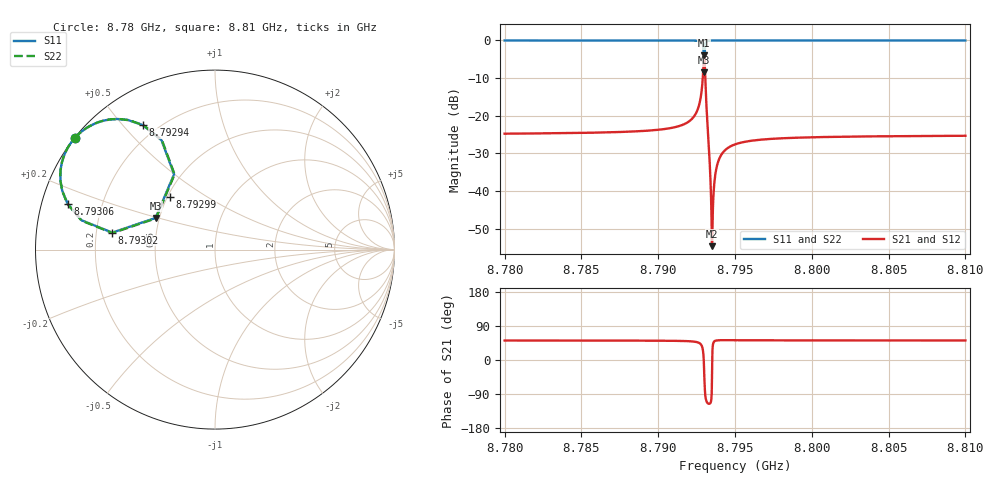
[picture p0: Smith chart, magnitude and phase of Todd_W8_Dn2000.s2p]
! Sonnet Data File
! From: emgraph Version : 16.52
! From Project: transmon_brgOdd
! Data is De-embedded
! Data File Written: 11/12/2017 17:05:33
!< HDATE 11/11/2017 22:57:51
!< MDATE 11/11/2017 22:57:51
!< PARAMS
!< Lj = 15.24
!< Gap = 6.0
!< Width = 10.0
!< Airgap = 6.0
!< Pwidth = 2000.0
!< Dist = 2000.0
!< END PARAMS
# GHZ S MA R 34.67000
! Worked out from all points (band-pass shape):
!   3001 points, 8.78 GHz to 8.81 GHz, reference 34.67 ohm
!   highest |S21| = -3.94 dB at 8.79299 GHz (marker M1); lowest = -54.6 dB at 8.7935 GHz (marker M2)
!   |S21| within 3 dB of the highest: 8.792944 GHz to 8.793035 GHz (90.76 kHz wide, 0.00103 % of centre)
!   lowest |S11| = -8.5 dB at 8.793 GHz (marker M3), VSWR 2.20, Z = 16.5 + j6.78 ohm
!   |S11| at or under -10 dB: nowhere
!   |S22| runs from -8.6 to 0.0 dB; largest |S21 - S12| = 0
!   S11 on the Smith chart (normalised r, x): 8.78 GHz: 0.00, +0.35; 8.79294 GHz: 0.15, +0.57; 8.79299 GHz: 0.52, +0.35; 8.79302 GHz: 0.27, +0.08; 8.79306 GHz: 0.08, +0.15; 8.81 GHz: 0.00, +0.35
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8.78  0.9983 141.4  0.05777 51.5  0.05777 51.5  0.9983 141.4
!< P1 F=8.78 Eeff=(5.13743391 -5.7017e-5) Z0=(34.6430374 -9.7216e-5) R=0.0 C=0.0
!< P2 F=8.78 Eeff=(5.13743391 -5.7017e-5) Z0=(34.6430374 -9.7216e-5) R=0.0 C=0.0
8.785  0.9982 141.3  0.05917 51.3  0.05917 51.3  0.9982 141.3
8.79  0.9978 141.0  0.0651 50.9  0.0651 50.9  0.9978 141.0
8.79226  0.9947 139.3  0.09381 48.8  0.09381 48.8  0.9947 139.3
8.7926  0.9892 137.5  0.1259 46.2  0.1259 46.2  0.9891 137.5
8.7928  0.9696 133.6  0.1937 40.2  0.1937 40.2  0.9696 133.5
8.79286  0.9459 130.4  0.2482 35.1  0.2482 35.1  0.9458 130.4
8.79294  0.8008 120.1  0.4318 15.5  0.4318 15.5  0.8003 119.9
8.79299  0.3846 130.8  0.6351 -26.9  0.6351 -26.9  0.3817 130.6
8.793  0.3752 152.0  0.6312 -39.6  0.6312 -39.6  0.3721 152.1
8.79302  0.58 170.6  0.5426 -63.2  0.5426 -63.2  0.5784 170.8
8.79306  0.8598 162.8  0.3236 -90.9  0.3236 -90.9  0.8594 162.9
8.79319  0.9842 149.7  0.08884 -112.5  0.08884 -112.5  0.9841 149.8
8.7934  0.9971 145.5  0.01453 -113.3  0.01453 -113.3  0.9971 145.5
8.7935  0.9982 144.7  0.001853 -48.4  0.001853 -48.4  0.9982 144.7
8.7936  0.9987 144.2  0.008951 46.1  0.008951 46.1  0.9987 144.2
8.79375  0.999 143.7  0.0182 51.1  0.0182 51.1  0.999 143.7
8.79398  0.9992 143.2  0.02697 52.2  0.02697 52.2  0.9992 143.2
8.795  0.999 142.3  0.04162 52.2  0.04162 52.2  0.999 142.3
8.8  0.9987 141.7  0.05174 51.7  0.05174 51.7  0.9987 141.7
8.805  0.9986 141.6  0.05346 51.6  0.05346 51.6  0.9986 141.6
8.81  0.9985 141.5  0.05419 51.5  0.05419 51.5  0.9985 141.5
